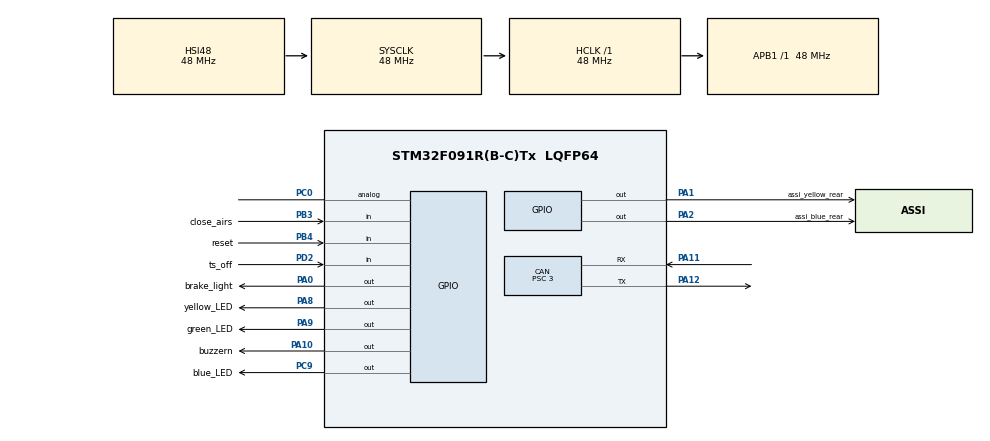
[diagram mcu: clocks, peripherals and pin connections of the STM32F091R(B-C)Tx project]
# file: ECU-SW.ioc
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CAN.BS1=CAN_BS1_13TQ
CAN.BS2=CAN_BS2_2TQ
CAN.CalculateBaudRate=1000000
CAN.CalculateTimeBit=1000
CAN.CalculateTimeQuantum=62.5
CAN.Mode=CAN_MODE_NORMAL
CAN.Prescaler=3
Mcu.Family=STM32F0
Mcu.Name=STM32F091R(B-C)Tx
Mcu.Package=LQFP64
NVIC.CEC_CAN_IRQn=true\:0\:0\:false\:false\:true\:true\:true\:true
PA0.GPIO_Label=brake_light
PA0.Signal=GPIO_Output
PA1.GPIO_Label=assi_yellow_rear
PA1.Signal=GPIO_Output
PA10.GPIO_Label=buzzern
PA10.Signal=GPIO_Output
PA11.Mode=CAN_Activate
PA11.Signal=CAN_RX
PA12.Mode=CAN_Activate
PA12.Signal=CAN_TX
PA13.Mode=Serial_Wire
PA13.Signal=SYS_SWDIO
PA14.Mode=Serial_Wire
PA14.Signal=SYS_SWCLK
PA2.GPIO_Label=assi_blue_rear
PA2.Signal=GPIO_Output
PA8.GPIO_Label=yellow_LED
PA8.Signal=GPIO_Output
PA9.GPIO_Label=green_LED
PA9.Signal=GPIO_Output
PB3.GPIO_Label=close_airs
PB3.Signal=GPIO_Input
PB4.GPIO_Label=reset
PB4.Signal=GPIO_Input
PC0.Signal=GPIO_Analog
PC9.GPIO_Label=blue_LED
PC9.Signal=GPIO_Output
PD2.GPIO_Label=ts_off
PD2.Signal=GPIO_Input
ProjectManager.HeapSize=0x200
ProjectManager.StackSize=0x400
ProjectManager.TargetToolchain=STM32CubeIDE
RCC.AHBFreq_Value=48000000
RCC.APB1Freq_Value=48000000
RCC.APB1TimFreq_Value=48000000
RCC.HCLKFreq_Value=48000000
RCC.SYSCLKFreq_VALUE=48000000
RCC.SYSCLKSource=RCC_SYSCLKSOURCE_HSI48
VP_TIM1_VS_ClockSourceINT.Mode=Internal
board=custom

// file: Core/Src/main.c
/* USER CODE BEGIN Header */
/**
 ******************************************************************************
 * @file           : main.c
 * @brief          : Main program body
 ******************************************************************************
 * @attention
 *
 * Copyright (c) 2022 STMicroelectronics.
 * All rights reserved.
 *
 * This software is licensed under terms that can be found in the LICENSE file
 * in the root directory of this software component.
 * If no LICENSE file comes with this software, it is provided AS-IS.
 *
 ******************************************************************************
 */
/* USER CODE END Header */
#include "main.h"
#include "can.h"
#include "tim.h"
#include "gpio.h"

/* USER CODE BEGIN Includes */
#include "kthfspe_can.h"
/* USER CODE END Includes */

void SystemClock_Config(void);

/* USER CODE BEGIN 0 */

void can1_mcu_set_ecu_indicator_points_receive_callback(
		can1_mcu_set_ecu_indicator_points_t *can1_mcu_set_ecu_indicator_points) {
	HAL_GPIO_WritePin(assi_blue_rear_GPIO_Port, assi_blue_rear_Pin,
			can1_mcu_set_ecu_indicator_points->assi_blue_rear);
	HAL_GPIO_WritePin(assi_yellow_rear_GPIO_Port, assi_yellow_rear_Pin,
			can1_mcu_set_ecu_indicator_points->assi_yellow_rear);
	HAL_GPIO_WritePin(brake_light_GPIO_Port, brake_light_Pin,
			can1_mcu_set_ecu_indicator_points->brake_light);
	HAL_GPIO_WritePin(buzzern_GPIO_Port, buzzern_Pin,
			can1_mcu_set_ecu_indicator_points->r2d_sound);

}

void can1_potentiometer_receive_callback(can1_potentiometer_status_t *can1_potentiometer_status)
{
	// Empty
}

// void can1_potentiometer_transmit_callback(can1_potentiometer_status_t *can1_potentiometer_status)
// {
// 	can1_ecu_status->potentiometer = HAL_GPIO_ReadPin(close_airs_GPIO_Port,
// 												   close_airs_Pin);
// 	can1_ecu_status->rst_button = HAL_GPIO_ReadPin(reset_GPIO_Port, reset_Pin);
// 	can1_ecu_status->ts_off = HAL_GPIO_ReadPin(ts_off_GPIO_Port, ts_off_Pin);
// }

void can1_ecu_status_transmit_callback(can1_ecu_status_t *can1_ecu_status) {
	can1_ecu_status->close_airs = HAL_GPIO_ReadPin(close_airs_GPIO_Port,
	close_airs_Pin);
	can1_ecu_status->rst_button = HAL_GPIO_ReadPin(reset_GPIO_Port, reset_Pin);
	can1_ecu_status->ts_off = HAL_GPIO_ReadPin(ts_off_GPIO_Port, ts_off_Pin);
}

void can1_dbu_status_1_transmit_callback(can1_dbu_status_1_t *can1_dbu_status_1) {
	can1_dbu_status_1->activate_ts_button = HAL_GPIO_ReadPin(
	close_airs_GPIO_Port, close_airs_Pin);
	return;
}

void can1_potentiometer_status_transmit_callback(can1_potentiometer_status_t *can1_potentiometer_status)
{
	can1_potentiometer_status->potentiometer_voltage = HAL_GPIO_ReadPin(close_airs_GPIO_Port, close_airs_Pin);
	return;
}

/* USER CODE END 0 */

int main(void)
{

  /* MCU Configuration--------------------------------------------------------*/

  /* Reset of all peripherals, Initializes the Flash interface and the Systick. */
  HAL_Init();

  /* Configure the system clock */
  SystemClock_Config();

  /* Initialize all configured peripherals */
  MX_GPIO_Init();
  MX_CAN_Init();
  MX_TIM1_Init();
  /* USER CODE BEGIN 2 */

	if (!init_peripheral_can_hal_can1(&hcan)) {
		Error_Handler();
	}

  /* USER CODE END 2 */

  /* Infinite loop */
	while (1) {

    /* USER CODE BEGIN 3 */
		HAL_GPIO_TogglePin(green_LED_GPIO_Port, green_LED_Pin);
		can1_ecu_status_transmit();
		HAL_Delay(50);
	}
  /* USER CODE END 3 */
}

void SystemClock_Config(void)
{
  RCC_OscInitTypeDef RCC_OscInitStruct = {0};
  RCC_ClkInitTypeDef RCC_ClkInitStruct = {0};

  /** Initializes the RCC Oscillators according to the specified parameters
  * in the RCC_OscInitTypeDef structure.
  */
  RCC_OscInitStruct.OscillatorType = RCC_OSCILLATORTYPE_HSI48;
  RCC_OscInitStruct.HSI48State = RCC_HSI48_ON;
  RCC_OscInitStruct.PLL.PLLState = RCC_PLL_NONE;
  if (HAL_RCC_OscConfig(&RCC_OscInitStruct) != HAL_OK)
  {
    Error_Handler();
  }

  /** Initializes the CPU, AHB and APB buses clocks
  */
  RCC_ClkInitStruct.ClockType = RCC_CLOCKTYPE_HCLK|RCC_CLOCKTYPE_SYSCLK
                              |RCC_CLOCKTYPE_PCLK1;
  RCC_ClkInitStruct.SYSCLKSource = RCC_SYSCLKSOURCE_HSI48;
  RCC_ClkInitStruct.AHBCLKDivider = RCC_SYSCLK_DIV1;
  RCC_ClkInitStruct.APB1CLKDivider = RCC_HCLK_DIV1;

  if (HAL_RCC_ClockConfig(&RCC_ClkInitStruct, FLASH_LATENCY_1) != HAL_OK)
  {
    Error_Handler();
  }
}

void Error_Handler(void)
{
	__disable_irq();
	while (1) {
	}
}
